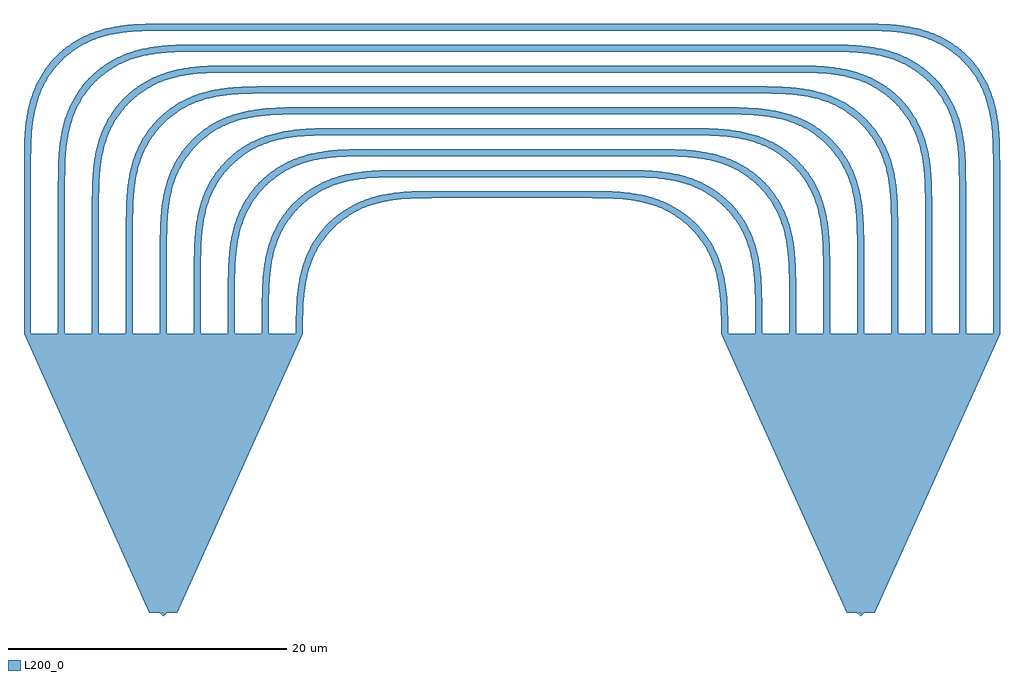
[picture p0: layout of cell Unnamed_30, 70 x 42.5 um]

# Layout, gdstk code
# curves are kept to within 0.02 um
import gdstk
lib = gdstk.Library(unit=1e-6, precision=1e-09)
def R(c, l, rs):  # rectangles x0, y0, x1, y1
    for r in rs: c.add(gdstk.rectangle(r[:2], r[2:], *l))
def P(c, l, *ps):  # polygons
    for p in ps: c.add(gdstk.Polygon(p, *l))
L200_0 = (200, 0)

unnamed_30 = lib.new_cell('Unnamed_30')
R(unnamed_30, L200_0, [(15,55,15.5,67), (17.438,55,17.938,65.5), (19.875,55,20.375,64), (22.312,55,22.812,62.5), (24.75,55,25.25,61), (27.188,55,27.688,59.5), (29.625,55,30.125,58), (32.062,55,32.562,56.5), (67.438,55,67.938,56.5), (69.875,55,70.375,58), (72.312,55,72.812,59.5), (74.75,55,75.25,61), (77.188,55,77.688,62.5), (79.625,55,80.125,64), (82.062,55,82.562,65.5), (84.5,55,85,67), (44.75,64.75,55.25,65.25), (42.312,66.25,57.688,66.75), (39.875,67.75,60.125,68.25), (37.438,69.25,62.562,69.75), (35,70.75,65,71.25), (32.562,72.25,67.438,72.75), (30.125,73.75,69.875,74.25), (27.688,75.25,72.312,75.75), (25.25,76.75,74.75,77.25)])
P(unnamed_30, L200_0, [(25,34.75),(24.775,34.975),(24.812,34.975),(25,34.785),(25,34.975),(24.775,34.975),(24.75,35),(25.25,35)],
  [(75,34.75),(74.775,34.975),(74.812,34.975),(75,34.785),(75,34.975),(74.775,34.975),(74.75,35),(75.25,35)],
  [(24,35),(15,55),(35,55),(26,35)],
  [(25,34.75),(24.775,34.975),(24.812,34.975),(25,34.785),(25,34.975),(24.775,34.975),(24.75,35),(25.25,35)],
  [(34.5,55),(34.715,55.215),(34.75,55.215),(34.75,55.025),(34.938,55.025),(34.75,55.215),(34.715,55.215),(34.75,55.25),(35,55)],
  [(32.062,55),(32.277,55.215),(32.312,55.215),(32.312,55.025),(32.5,55.025),(32.312,55.215),(32.277,55.215),(32.312,55.25),(32.562,55)],
  [(29.625,55),(29.84,55.215),(29.875,55.215),(29.875,55.025),(30.063,55.025),(29.875,55.215),(29.84,55.215),(29.875,55.25),(30.125,55)],
  [(27.188,55),(27.403,55.215),(27.438,55.215),(27.438,55.025),(27.626,55.025),(27.438,55.215),(27.403,55.215),(27.438,55.25),(27.688,55)],
  [(24.75,55),(24.965,55.215),(25,55.215),(25,55.025),(25.188,55.025),(25,55.215),(24.965,55.215),(25,55.25),(25.25,55)],
  [(22.312,55),(22.527,55.215),(22.562,55.215),(22.562,55.025),(22.75,55.025),(22.562,55.215),(22.527,55.215),(22.562,55.25),(22.812,55)],
  [(19.875,55),(20.09,55.215),(20.125,55.215),(20.125,55.025),(20.313,55.025),(20.125,55.215),(20.09,55.215),(20.125,55.25),(20.375,55)],
  [(17.438,55),(17.653,55.215),(17.688,55.215),(17.688,55.025),(17.876,55.025),(17.688,55.215),(17.653,55.215),(17.688,55.25),(17.938,55)],
  [(15,55),(15.215,55.215),(15.25,55.215),(15.25,55.025),(15.438,55.025),(15.25,55.215),(15.215,55.215),(15.25,55.25),(15.5,55)],
  [(74,35),(65,55),(85,55),(76,35)],
  [(75,34.75),(74.775,34.975),(74.812,34.975),(75,34.785),(75,34.975),(74.775,34.975),(74.75,35),(75.25,35)],
  [(84.5,55),(84.715,55.215),(84.75,55.215),(84.75,55.025),(84.938,55.025),(84.75,55.215),(84.715,55.215),(84.75,55.25),(85,55)],
  [(82.062,55),(82.277,55.215),(82.312,55.215),(82.312,55.025),(82.5,55.025),(82.312,55.215),(82.277,55.215),(82.312,55.25),(82.562,55)],
  [(79.625,55),(79.84,55.215),(79.875,55.215),(79.875,55.025),(80.063,55.025),(79.875,55.215),(79.84,55.215),(79.875,55.25),(80.125,55)],
  [(77.188,55),(77.403,55.215),(77.438,55.215),(77.438,55.025),(77.626,55.025),(77.438,55.215),(77.403,55.215),(77.438,55.25),(77.688,55)],
  [(74.75,55),(74.965,55.215),(75,55.215),(75,55.025),(75.188,55.025),(75,55.215),(74.965,55.215),(75,55.25),(75.25,55)],
  [(72.312,55),(72.527,55.215),(72.562,55.215),(72.562,55.025),(72.75,55.025),(72.562,55.215),(72.527,55.215),(72.562,55.25),(72.812,55)],
  [(69.875,55),(70.09,55.215),(70.125,55.215),(70.125,55.025),(70.313,55.025),(70.125,55.215),(70.09,55.215),(70.125,55.25),(70.375,55)],
  [(67.438,55),(67.653,55.215),(67.688,55.215),(67.688,55.025),(67.876,55.025),(67.688,55.215),(67.653,55.215),(67.688,55.25),(67.938,55)],
  [(65,55),(65.215,55.215),(65.25,55.215),(65.25,55.025),(65.438,55.025),(65.25,55.215),(65.215,55.215),(65.25,55.25),(65.5,55)],
  [(84.5,67),(84.481,68.655),(84.411,69.746),(84.281,70.687),(84.103,71.477),(83.801,72.365),(83.451,73.087),(83.019,73.762),(82.418,74.479),(81.932,74.938),(81.293,75.422),(80.601,75.827),(79.866,76.149),(78.834,76.451),(77.631,76.647),(76.405,76.731),(74.75,76.75),(74.75,77.25),(76.562,77.225),(77.685,77.144),(78.665,76.997),(79.633,76.756),(80.569,76.398),(81.329,75.992),(82.147,75.41),(82.779,74.826),(83.423,74.056),(83.742,73.579),(84.023,73.078),(84.416,72.155),(84.689,71.194),(84.841,70.356),(84.944,69.373),(84.989,68.392),(85,67)],
  [(15,67),(15.015,68.532),(15.092,69.795),(15.227,70.776),(15.453,71.746),(15.793,72.688),(16.184,73.455),(16.75,74.285),(17.322,74.928),(17.965,75.5),(18.795,76.066),(19.562,76.457),(20.504,76.797),(21.474,77.023),(22.455,77.158),(23.718,77.235),(25.25,77.25),(25.25,76.75),(23.595,76.731),(22.369,76.647),(21.298,76.48),(20.26,76.194),(19.519,75.887),(18.819,75.495),(18.171,75.024),(17.675,74.575),(17.226,74.079),(16.755,73.431),(16.363,72.731),(16.056,71.99),(15.77,70.952),(15.603,69.881),(15.519,68.655),(15.5,67)],
  [(82.062,65.5),(82.043,67.155),(81.973,68.246),(81.843,69.187),(81.665,69.977),(81.363,70.865),(81.013,71.587),(80.581,72.262),(79.98,72.979),(79.494,73.438),(78.855,73.922),(78.163,74.327),(77.428,74.649),(76.396,74.951),(75.193,75.147),(73.967,75.231),(72.312,75.25),(72.312,75.75),(74.124,75.725),(75.247,75.644),(76.227,75.497),(77.195,75.256),(78.131,74.898),(78.891,74.492),(79.709,73.91),(80.341,73.326),(80.985,72.556),(81.304,72.079),(81.585,71.578),(81.978,70.655),(82.251,69.694),(82.403,68.856),(82.506,67.873),(82.551,66.892),(82.562,65.5)],
  [(17.438,65.5),(17.453,67.032),(17.53,68.295),(17.665,69.276),(17.891,70.246),(18.231,71.188),(18.622,71.955),(19.188,72.785),(19.76,73.428),(20.403,74),(21.233,74.566),(22,74.957),(22.942,75.297),(23.912,75.523),(24.893,75.658),(26.156,75.735),(27.688,75.75),(27.688,75.25),(26.033,75.231),(24.807,75.147),(23.736,74.98),(22.698,74.694),(21.957,74.387),(21.257,73.995),(20.609,73.524),(20.113,73.075),(19.664,72.579),(19.193,71.931),(18.801,71.231),(18.494,70.49),(18.208,69.452),(18.041,68.381),(17.957,67.155),(17.938,65.5)],
  [(79.625,64),(79.606,65.655),(79.536,66.746),(79.406,67.687),(79.228,68.477),(78.926,69.365),(78.576,70.087),(78.144,70.762),(77.543,71.479),(77.057,71.938),(76.418,72.422),(75.726,72.827),(74.991,73.149),(73.959,73.451),(72.756,73.647),(71.53,73.731),(69.875,73.75),(69.875,74.25),(71.687,74.225),(72.81,74.144),(73.79,73.997),(74.758,73.756),(75.694,73.398),(76.454,72.992),(77.272,72.41),(77.904,71.826),(78.548,71.056),(78.867,70.579),(79.148,70.078),(79.541,69.155),(79.814,68.194),(79.966,67.356),(80.069,66.373),(80.114,65.392),(80.125,64)],
  [(19.875,64),(19.89,65.532),(19.967,66.795),(20.102,67.776),(20.328,68.746),(20.668,69.688),(21.059,70.455),(21.625,71.285),(22.197,71.928),(22.84,72.5),(23.67,73.066),(24.437,73.457),(25.379,73.797),(26.349,74.023),(27.33,74.158),(28.593,74.235),(30.125,74.25),(30.125,73.75),(28.47,73.731),(27.244,73.647),(26.173,73.48),(25.135,73.194),(24.394,72.887),(23.694,72.495),(23.046,72.024),(22.55,71.575),(22.101,71.079),(21.63,70.431),(21.238,69.731),(20.931,68.99),(20.645,67.952),(20.478,66.881),(20.394,65.655),(20.375,64)],
  [(77.188,62.5),(77.169,64.155),(77.099,65.246),(76.969,66.187),(76.791,66.977),(76.489,67.865),(76.139,68.587),(75.707,69.262),(75.106,69.979),(74.62,70.438),(73.981,70.922),(73.289,71.327),(72.554,71.649),(71.522,71.951),(70.319,72.147),(69.093,72.231),(67.438,72.25),(67.438,72.75),(69.25,72.725),(70.373,72.644),(71.353,72.497),(72.321,72.256),(73.257,71.898),(74.017,71.492),(74.835,70.91),(75.467,70.326),(76.111,69.556),(76.43,69.079),(76.711,68.578),(77.104,67.655),(77.377,66.694),(77.529,65.856),(77.632,64.873),(77.677,63.892),(77.688,62.5)],
  [(22.312,62.5),(22.327,64.032),(22.404,65.295),(22.539,66.276),(22.765,67.246),(23.105,68.188),(23.496,68.955),(24.062,69.785),(24.634,70.428),(25.277,71),(26.107,71.566),(26.874,71.957),(27.816,72.297),(28.786,72.523),(29.767,72.658),(31.03,72.735),(32.562,72.75),(32.562,72.25),(30.907,72.231),(29.681,72.147),(28.61,71.98),(27.572,71.694),(26.831,71.387),(26.131,70.995),(25.483,70.524),(24.987,70.075),(24.538,69.579),(24.067,68.931),(23.675,68.231),(23.368,67.49),(23.082,66.452),(22.915,65.381),(22.831,64.155),(22.812,62.5)],
  [(74.75,61),(74.731,62.655),(74.661,63.746),(74.531,64.687),(74.353,65.477),(74.051,66.365),(73.701,67.087),(73.269,67.762),(72.668,68.479),(72.182,68.938),(71.543,69.422),(70.851,69.827),(70.116,70.149),(69.084,70.451),(67.881,70.647),(66.655,70.731),(65,70.75),(65,71.25),(66.812,71.225),(67.935,71.144),(68.915,70.997),(69.883,70.756),(70.819,70.398),(71.579,69.992),(72.397,69.41),(73.029,68.826),(73.673,68.056),(73.992,67.579),(74.273,67.078),(74.666,66.155),(74.939,65.194),(75.091,64.356),(75.194,63.373),(75.239,62.392),(75.25,61)],
  [(24.75,61),(24.765,62.532),(24.842,63.795),(24.977,64.776),(25.203,65.746),(25.543,66.688),(25.934,67.455),(26.5,68.285),(27.072,68.928),(27.715,69.5),(28.545,70.066),(29.312,70.457),(30.254,70.797),(31.224,71.023),(32.205,71.158),(33.468,71.235),(35,71.25),(35,70.75),(33.345,70.731),(32.119,70.647),(31.048,70.48),(30.01,70.194),(29.269,69.887),(28.569,69.495),(27.921,69.024),(27.425,68.575),(26.976,68.079),(26.505,67.431),(26.113,66.731),(25.806,65.99),(25.52,64.952),(25.353,63.881),(25.269,62.655),(25.25,61)],
  [(72.312,59.5),(72.293,61.155),(72.223,62.246),(72.093,63.187),(71.915,63.977),(71.613,64.865),(71.263,65.587),(70.831,66.262),(70.23,66.979),(69.744,67.438),(69.105,67.922),(68.413,68.327),(67.678,68.649),(66.646,68.951),(65.443,69.147),(64.217,69.231),(62.562,69.25),(62.562,69.75),(64.374,69.725),(65.497,69.644),(66.477,69.497),(67.445,69.256),(68.381,68.898),(69.141,68.492),(69.959,67.91),(70.591,67.326),(71.235,66.556),(71.554,66.079),(71.835,65.578),(72.228,64.655),(72.501,63.694),(72.653,62.856),(72.756,61.873),(72.801,60.892),(72.812,59.5)],
  [(27.188,59.5),(27.203,61.032),(27.28,62.295),(27.415,63.276),(27.641,64.246),(27.981,65.188),(28.372,65.955),(28.938,66.785),(29.51,67.428),(30.153,68),(30.983,68.566),(31.75,68.957),(32.692,69.297),(33.662,69.523),(34.643,69.658),(35.906,69.735),(37.438,69.75),(37.438,69.25),(35.783,69.231),(34.557,69.147),(33.486,68.98),(32.448,68.694),(31.707,68.387),(31.007,67.995),(30.359,67.524),(29.863,67.075),(29.414,66.579),(28.943,65.931),(28.551,65.231),(28.244,64.49),(27.958,63.452),(27.791,62.381),(27.707,61.155),(27.688,59.5)],
  [(69.875,58),(69.856,59.655),(69.786,60.746),(69.656,61.687),(69.478,62.477),(69.176,63.365),(68.826,64.087),(68.394,64.762),(67.793,65.479),(67.307,65.938),(66.668,66.422),(65.976,66.827),(65.241,67.149),(64.209,67.451),(63.006,67.647),(61.78,67.731),(60.125,67.75),(60.125,68.25),(61.937,68.225),(63.06,68.144),(64.04,67.997),(65.008,67.756),(65.944,67.398),(66.704,66.992),(67.522,66.41),(68.154,65.826),(68.798,65.056),(69.117,64.579),(69.398,64.078),(69.791,63.155),(70.064,62.194),(70.216,61.356),(70.319,60.373),(70.364,59.392),(70.375,58)],
  [(29.625,58),(29.64,59.532),(29.717,60.795),(29.852,61.776),(30.078,62.746),(30.418,63.688),(30.809,64.455),(31.375,65.285),(31.947,65.928),(32.59,66.5),(33.42,67.066),(34.187,67.457),(35.129,67.797),(36.099,68.023),(37.08,68.158),(38.343,68.235),(39.875,68.25),(39.875,67.75),(38.22,67.731),(36.994,67.647),(35.923,67.48),(34.885,67.194),(34.144,66.887),(33.444,66.495),(32.796,66.024),(32.3,65.575),(31.851,65.079),(31.38,64.431),(30.988,63.731),(30.681,62.99),(30.395,61.952),(30.228,60.881),(30.144,59.655),(30.125,58)],
  [(67.438,56.5),(67.419,58.155),(67.349,59.246),(67.219,60.187),(67.041,60.977),(66.739,61.865),(66.389,62.587),(65.957,63.262),(65.356,63.979),(64.87,64.438),(64.231,64.922),(63.539,65.327),(62.804,65.649),(61.772,65.951),(60.569,66.147),(59.343,66.231),(57.688,66.25),(57.688,66.75),(59.5,66.725),(60.623,66.644),(61.603,66.497),(62.571,66.256),(63.507,65.898),(64.267,65.492),(65.085,64.91),(65.717,64.326),(66.361,63.556),(66.68,63.079),(66.961,62.578),(67.354,61.655),(67.627,60.694),(67.779,59.856),(67.882,58.873),(67.927,57.892),(67.938,56.5)],
  [(32.062,56.5),(32.077,58.032),(32.154,59.295),(32.289,60.276),(32.515,61.246),(32.855,62.188),(33.246,62.955),(33.812,63.785),(34.384,64.428),(35.027,65),(35.857,65.566),(36.624,65.957),(37.566,66.297),(38.536,66.523),(39.517,66.658),(40.78,66.735),(42.312,66.75),(42.312,66.25),(40.657,66.231),(39.431,66.147),(38.36,65.98),(37.322,65.694),(36.581,65.387),(35.881,64.995),(35.233,64.524),(34.737,64.075),(34.288,63.579),(33.817,62.931),(33.425,62.231),(33.118,61.49),(32.832,60.452),(32.665,59.381),(32.581,58.155),(32.562,56.5)],
  [(65,55),(64.981,56.655),(64.911,57.746),(64.781,58.687),(64.603,59.477),(64.301,60.365),(63.951,61.087),(63.519,61.762),(62.918,62.479),(62.432,62.938),(61.793,63.422),(61.101,63.827),(60.366,64.149),(59.334,64.451),(58.131,64.647),(56.905,64.731),(55.25,64.75),(55.25,65.25),(57.062,65.225),(58.185,65.144),(59.165,64.997),(60.133,64.756),(61.069,64.398),(61.829,63.992),(62.647,63.41),(63.279,62.826),(63.923,62.056),(64.242,61.579),(64.523,61.078),(64.916,60.155),(65.189,59.194),(65.341,58.356),(65.444,57.373),(65.489,56.392),(65.5,55)],
  [(34.5,55),(34.515,56.532),(34.592,57.795),(34.727,58.776),(34.953,59.746),(35.293,60.688),(35.684,61.455),(36.25,62.285),(36.822,62.928),(37.465,63.5),(38.295,64.066),(39.062,64.457),(40.004,64.797),(40.974,65.023),(41.955,65.158),(43.218,65.235),(44.75,65.25),(44.75,64.75),(43.095,64.731),(41.869,64.647),(40.798,64.48),(39.76,64.194),(39.019,63.887),(38.319,63.495),(37.671,63.024),(37.175,62.575),(36.726,62.079),(36.255,61.431),(35.863,60.731),(35.556,59.99),(35.27,58.952),(35.103,57.881),(35.019,56.655),(35,55)])

lib.write_gds('Unnamed_30.gds')
